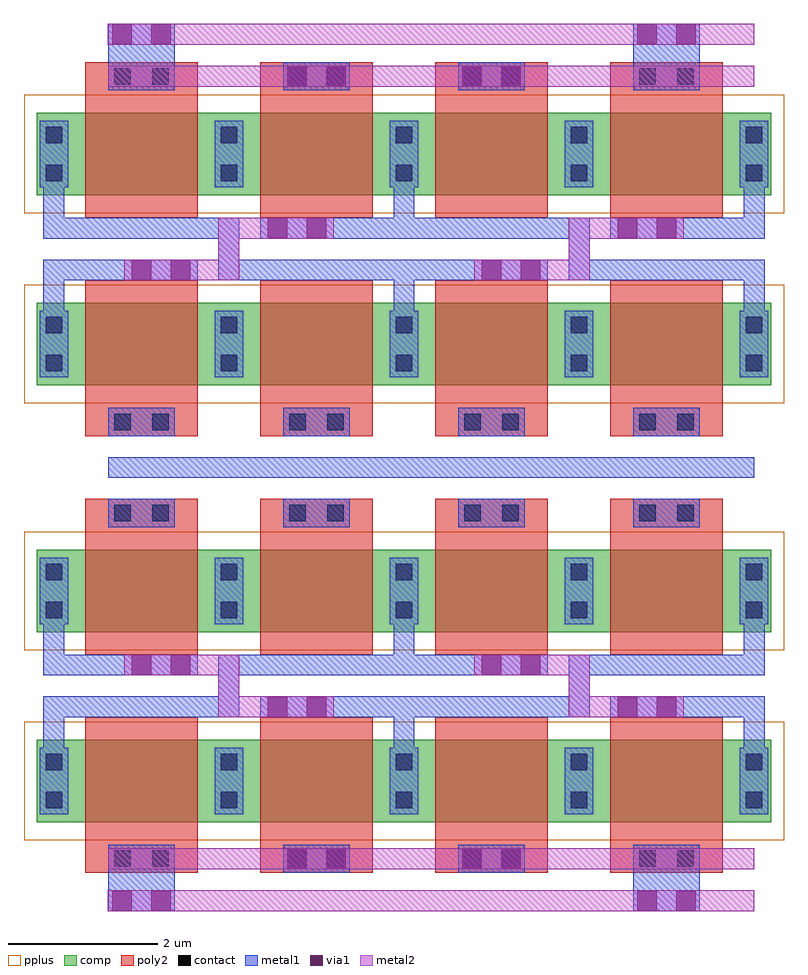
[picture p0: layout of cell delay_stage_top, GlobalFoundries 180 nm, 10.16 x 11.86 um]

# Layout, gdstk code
import gdstk
lib = gdstk.Library(unit=1e-6, precision=5e-09)
def R(c, l, rs):  # rectangles x0, y0, x1, y1
    for r in rs: c.add(gdstk.rectangle(r[:2], r[2:], *l))
comp = (22, 0)
poly2 = (30, 0)
pplus = (31, 0)
contact = (33, 0)
metal1 = (34, 0)
via1 = (35, 0)
metal2 = (36, 0)

delay_stage_pcell_1_1 = lib.new_cell('delay_stage_pcell_1$1')
R(delay_stage_pcell_1_1, comp, [(0.17,0.3,0.63,1.4), (0.63,0.3,2.51,1.4), (2.51,0.3,2.97,1.4)])
R(delay_stage_pcell_1_1, poly2, [(0.82,0,2.32,1.7)])
R(delay_stage_pcell_1_1, pplus, [(0,0.06,3.14,1.64)])
R(delay_stage_pcell_1_1, contact, [(0.29,0.485,0.51,0.705), (2.63,0.485,2.85,0.705), (0.29,0.995,0.51,1.215), (2.63,0.995,2.85,1.215)])
R(delay_stage_pcell_1_1, metal1, [(0.21,0.405,0.59,1.295), (2.55,0.405,2.93,1.295)])

delay_stage_pcell_4 = lib.new_cell('delay_stage_pcell_4')
delay_stage_pcell_4.add(gdstk.Reference(delay_stage_pcell_1_1, (0,0)))
delay_stage_pcell_4.add(gdstk.Reference(delay_stage_pcell_1_1, (2.34,0)))
delay_stage_pcell_4.add(gdstk.Reference(delay_stage_pcell_1_1, (4.68,0)))
delay_stage_pcell_4.add(gdstk.Reference(delay_stage_pcell_1_1, (7.02,0)))

delay_stage_top = lib.new_cell('delay_stage_top')
R(delay_stage_top, poly2, [(0.82,-6.91,2.32,-6.53), (0.82,-6.91,2.32,-6.53), (3.16,-6.91,4.66,-6.53), (3.16,-6.91,4.66,-6.53), (5.5,-6.91,7,-6.53), (5.5,-6.91,7,-6.53), (7.84,-6.91,9.34,-6.53), (7.84,-6.91,9.34,-6.53), (0.82,-2.29,2.32,-1.91), (0.82,-2.29,2.32,-1.91), (3.16,-2.29,4.66,-1.91), (3.16,-2.29,4.66,-1.91), (5.5,-2.29,7,-1.91), (5.5,-2.29,7,-1.91), (7.84,-2.29,9.34,-1.91), (7.84,-2.29,9.34,-1.91), (0.82,-1.07,2.32,-0.69), (0.82,-1.07,2.32,-0.69), (3.16,-1.07,4.66,-0.69), (3.16,-1.07,4.66,-0.69), (5.5,-1.07,7,-0.69), (5.5,-1.07,7,-0.69), (7.84,-1.07,9.34,-0.69), (7.84,-1.07,9.34,-0.69), (0.82,3.55,2.32,3.93), (0.82,3.55,2.32,3.93), (3.16,3.55,4.66,3.93), (3.16,3.55,4.66,3.93), (5.5,3.55,7,3.93), (5.5,3.55,7,3.93), (7.84,3.55,9.34,3.93), (7.84,3.55,9.34,3.93)])
R(delay_stage_top, contact, [(1.205,-6.83,1.425,-6.61), (1.205,-6.83,1.425,-6.61), (1.715,-6.83,1.935,-6.61), (1.715,-6.83,1.935,-6.61), (3.545,-6.83,3.765,-6.61), (3.545,-6.83,3.765,-6.61), (4.055,-6.83,4.275,-6.61), (4.055,-6.83,4.275,-6.61), (5.885,-6.83,6.105,-6.61), (5.885,-6.83,6.105,-6.61), (6.395,-6.83,6.615,-6.61), (6.395,-6.83,6.615,-6.61), (8.225,-6.83,8.445,-6.61), (8.225,-6.83,8.445,-6.61), (8.735,-6.83,8.955,-6.61), (8.735,-6.83,8.955,-6.61), (1.205,-2.21,1.425,-1.99), (1.205,-2.21,1.425,-1.99), (1.715,-2.21,1.935,-1.99), (1.715,-2.21,1.935,-1.99), (3.545,-2.21,3.765,-1.99), (3.545,-2.21,3.765,-1.99), (4.055,-2.21,4.275,-1.99), (4.055,-2.21,4.275,-1.99), (5.885,-2.21,6.105,-1.99), (5.885,-2.21,6.105,-1.99), (6.395,-2.21,6.615,-1.99), (6.395,-2.21,6.615,-1.99), (8.225,-2.21,8.445,-1.99), (8.225,-2.21,8.445,-1.99), (8.735,-2.21,8.955,-1.99), (8.735,-2.21,8.955,-1.99), (1.205,-0.99,1.425,-0.77), (1.205,-0.99,1.425,-0.77), (1.715,-0.99,1.935,-0.77), (1.715,-0.99,1.935,-0.77), (3.545,-0.99,3.765,-0.77), (3.545,-0.99,3.765,-0.77), (4.055,-0.99,4.275,-0.77), (4.055,-0.99,4.275,-0.77), (5.885,-0.99,6.105,-0.77), (5.885,-0.99,6.105,-0.77), (6.395,-0.99,6.615,-0.77), (6.395,-0.99,6.615,-0.77), (8.225,-0.99,8.445,-0.77), (8.225,-0.99,8.445,-0.77), (8.735,-0.99,8.955,-0.77), (8.735,-0.99,8.955,-0.77), (1.205,3.63,1.425,3.85), (1.205,3.63,1.425,3.85), (1.715,3.63,1.935,3.85), (1.715,3.63,1.935,3.85), (3.545,3.63,3.765,3.85), (3.545,3.63,3.765,3.85), (4.055,3.63,4.275,3.85), (4.055,3.63,4.275,3.85), (5.885,3.63,6.105,3.85), (5.885,3.63,6.105,3.85), (6.395,3.63,6.615,3.85), (6.395,3.63,6.615,3.85), (8.225,3.63,8.445,3.85), (8.225,3.63,8.445,3.85), (8.735,3.63,8.955,3.85), (8.735,3.63,8.955,3.85)])
R(delay_stage_top, metal1, [(1.125,-7.42,2.015,-6.53), (1.125,-7.42,2.015,-6.53), (8.145,-7.42,9.035,-6.53), (8.145,-7.42,9.035,-6.53), (3.465,-6.91,4.355,-6.53), (3.465,-6.91,4.355,-6.53), (5.805,-6.91,6.695,-6.53), (5.805,-6.91,6.695,-6.53), (1.125,-2.29,2.015,-1.91), (3.465,-2.29,4.355,-1.91), (3.465,-2.29,4.355,-1.91), (5.805,-2.29,6.695,-1.91), (5.805,-2.29,6.695,-1.91), (8.145,-2.29,9.035,-1.91), (8.145,-2.29,9.035,-1.91), (1.125,-1.07,2.015,-0.69), (1.125,-1.07,2.015,-0.69), (3.465,-1.07,4.355,-0.69), (3.465,-1.07,4.355,-0.69), (5.805,-1.07,6.695,-0.69), (5.805,-1.07,6.695,-0.69), (8.145,-1.07,9.035,-0.69), (8.145,-1.07,9.035,-0.69), (1.125,3.55,2.015,4.44), (1.125,3.55,2.015,4.44), (3.465,3.55,4.355,3.93), (3.465,3.55,4.355,3.93), (5.805,3.55,6.695,3.93), (5.805,3.55,6.695,3.93), (8.145,3.55,9.035,4.44), (8.145,3.55,9.035,4.44)])
R(delay_stage_top, via1, [(1.18,-7.41,1.44,-7.15), (1.18,-7.41,1.44,-7.15), (1.7,-7.41,1.96,-7.15), (1.7,-7.41,1.96,-7.15), (8.2,-7.41,8.46,-7.15), (8.2,-7.41,8.46,-7.15), (8.72,-7.41,8.98,-7.15), (8.72,-7.41,8.98,-7.15), (3.52,-6.85,3.78,-6.59), (3.52,-6.85,3.78,-6.59), (4.04,-6.85,4.3,-6.59), (4.04,-6.85,4.3,-6.59), (5.86,-6.85,6.12,-6.59), (5.86,-6.85,6.12,-6.59), (6.38,-6.85,6.64,-6.59), (6.38,-6.85,6.64,-6.59), (3.26,-4.82,3.52,-4.56), (3.26,-4.82,3.52,-4.56), (3.78,-4.82,4.04,-4.56), (3.78,-4.82,4.04,-4.56), (7.94,-4.82,8.2,-4.56), (7.94,-4.82,8.2,-4.56), (8.46,-4.82,8.72,-4.56), (8.46,-4.82,8.72,-4.56), (1.44,-4.26,1.7,-4), (1.44,-4.26,1.7,-4), (1.96,-4.26,2.22,-4), (1.96,-4.26,2.22,-4), (6.12,-4.26,6.38,-4), (6.12,-4.26,6.38,-4), (6.64,-4.26,6.9,-4), (6.64,-4.26,6.9,-4), (1.44,1.02,1.7,1.28), (1.44,1.02,1.7,1.28), (1.96,1.02,2.22,1.28), (1.96,1.02,2.22,1.28), (6.12,1.02,6.38,1.28), (6.12,1.02,6.38,1.28), (6.64,1.02,6.9,1.28), (6.64,1.02,6.9,1.28), (3.26,1.58,3.52,1.84), (3.26,1.58,3.52,1.84), (3.78,1.58,4.04,1.84), (3.78,1.58,4.04,1.84), (7.94,1.58,8.2,1.84), (7.94,1.58,8.2,1.84), (8.46,1.58,8.72,1.84), (8.46,1.58,8.72,1.84), (3.52,3.61,3.78,3.87), (3.52,3.61,3.78,3.87), (4.04,3.61,4.3,3.87), (4.04,3.61,4.3,3.87), (5.86,3.61,6.12,3.87), (5.86,3.61,6.12,3.87), (6.38,3.61,6.64,3.87), (6.38,3.61,6.64,3.87), (1.18,4.17,1.44,4.43), (1.18,4.17,1.44,4.43), (1.7,4.17,1.96,4.43), (1.7,4.17,1.96,4.43), (8.2,4.17,8.46,4.43), (8.2,4.17,8.46,4.43), (8.72,4.17,8.98,4.43), (8.72,4.17,8.98,4.43)])
delay_stage_top.add(gdstk.FlexPath([(0.4,-5.235),(0.4,-4.69),(1.34,-4.69)], 0.28, ends="flush", simple_path=True, layer=34, datatype=0))  # metal1
delay_stage_top.add(gdstk.FlexPath([(0.4,-5.235),(0.4,-4.69),(1.34,-4.69)], 0.28, ends="flush", simple_path=True, layer=34, datatype=0))  # metal1
delay_stage_top.add(gdstk.FlexPath([(5.08,-5.235),(5.08,-4.83)], 0.28, ends="flush", simple_path=True, layer=34, datatype=0))  # metal1
delay_stage_top.add(gdstk.FlexPath([(5.08,-5.235),(5.08,-4.83)], 0.28, ends="flush", simple_path=True, layer=34, datatype=0))  # metal1
delay_stage_top.add(gdstk.FlexPath([(9.76,-5.235),(9.76,-4.69),(8.82,-4.69)], 0.28, ends="flush", simple_path=True, layer=34, datatype=0))  # metal1
delay_stage_top.add(gdstk.FlexPath([(9.76,-5.235),(9.76,-4.69),(8.82,-4.69)], 0.28, ends="flush", simple_path=True, layer=34, datatype=0))  # metal1
delay_stage_top.add(gdstk.FlexPath([(1.34,-4.69),(2.74,-4.69),(2.74,-4.13),(4.14,-4.13)], 0.28, ends="flush", simple_path=True, layer=34, datatype=0))  # metal1
delay_stage_top.add(gdstk.FlexPath([(1.34,-4.69),(2.74,-4.69),(2.74,-4.13),(4.14,-4.13)], 0.28, ends="flush", simple_path=True, layer=34, datatype=0))  # metal1
delay_stage_top.add(gdstk.FlexPath([(3.16,-4.69),(4.14,-4.69)], 0.28, ends="flush", simple_path=True, layer=34, datatype=0))  # metal1
delay_stage_top.add(gdstk.FlexPath([(3.16,-4.69),(4.14,-4.69)], 0.28, ends="flush", simple_path=True, layer=34, datatype=0))  # metal1
delay_stage_top.add(gdstk.FlexPath([(6.02,-4.69),(4.14,-4.69)], 0.28, ends="flush", simple_path=True, layer=34, datatype=0))  # metal1
delay_stage_top.add(gdstk.FlexPath([(6.02,-4.69),(4.14,-4.69)], 0.28, ends="flush", simple_path=True, layer=34, datatype=0))  # metal1
delay_stage_top.add(gdstk.FlexPath([(6.02,-4.69),(7.42,-4.69),(7.42,-4.13),(8.82,-4.13)], 0.28, ends="flush", simple_path=True, layer=34, datatype=0))  # metal1
delay_stage_top.add(gdstk.FlexPath([(6.02,-4.69),(7.42,-4.69),(7.42,-4.13),(8.82,-4.13)], 0.28, ends="flush", simple_path=True, layer=34, datatype=0))  # metal1
delay_stage_top.add(gdstk.FlexPath([(7.84,-4.69),(8.82,-4.69)], 0.28, ends="flush", simple_path=True, layer=34, datatype=0))  # metal1
delay_stage_top.add(gdstk.FlexPath([(7.84,-4.69),(8.82,-4.69)], 0.28, ends="flush", simple_path=True, layer=34, datatype=0))  # metal1
delay_stage_top.add(gdstk.FlexPath([(1.34,-4.13),(2.32,-4.13)], 0.28, ends="flush", simple_path=True, layer=34, datatype=0))  # metal1
delay_stage_top.add(gdstk.FlexPath([(1.34,-4.13),(2.32,-4.13)], 0.28, ends="flush", simple_path=True, layer=34, datatype=0))  # metal1
delay_stage_top.add(gdstk.FlexPath([(6.02,-4.13),(4.14,-4.13)], 0.28, ends="flush", simple_path=True, layer=34, datatype=0))  # metal1
delay_stage_top.add(gdstk.FlexPath([(6.02,-4.13),(4.14,-4.13)], 0.28, ends="flush", simple_path=True, layer=34, datatype=0))  # metal1
delay_stage_top.add(gdstk.FlexPath([(6.02,-4.13),(7,-4.13)], 0.28, ends="flush", simple_path=True, layer=34, datatype=0))  # metal1
delay_stage_top.add(gdstk.FlexPath([(6.02,-4.13),(7,-4.13)], 0.28, ends="flush", simple_path=True, layer=34, datatype=0))  # metal1
delay_stage_top.add(gdstk.FlexPath([(8.82,-4.13),(9.76,-4.13),(9.76,-3.585)], 0.28, ends="flush", simple_path=True, layer=34, datatype=0))  # metal1
delay_stage_top.add(gdstk.FlexPath([(8.82,-4.13),(9.76,-4.13),(9.76,-3.585)], 0.28, ends="flush", simple_path=True, layer=34, datatype=0))  # metal1
delay_stage_top.add(gdstk.FlexPath([(0.4,-3.585),(0.4,-4.13),(1.34,-4.13)], 0.28, ends="flush", simple_path=True, layer=34, datatype=0))  # metal1
delay_stage_top.add(gdstk.FlexPath([(0.4,-3.585),(0.4,-4.13),(1.34,-4.13)], 0.28, ends="flush", simple_path=True, layer=34, datatype=0))  # metal1
delay_stage_top.add(gdstk.FlexPath([(5.08,-3.585),(5.08,-3.99)], 0.28, ends="flush", simple_path=True, layer=34, datatype=0))  # metal1
delay_stage_top.add(gdstk.FlexPath([(5.08,-3.585),(5.08,-3.99)], 0.28, ends="flush", simple_path=True, layer=34, datatype=0))  # metal1
delay_stage_top.add(gdstk.FlexPath([(1.125,-1.49),(9.76,-1.49)], 0.28, ends="flush", simple_path=True, layer=34, datatype=0))  # metal1
delay_stage_top.add(gdstk.FlexPath([(0.4,0.605),(0.4,1.15),(1.34,1.15)], 0.28, ends="flush", simple_path=True, layer=34, datatype=0))  # metal1
delay_stage_top.add(gdstk.FlexPath([(0.4,2.255),(0.4,1.71),(1.34,1.71)], 0.28, ends="flush", simple_path=True, layer=34, datatype=0))  # metal1
delay_stage_top.add(gdstk.FlexPath([(5.08,2.255),(5.08,1.85)], 0.28, ends="flush", simple_path=True, layer=34, datatype=0))  # metal1
delay_stage_top.add(gdstk.FlexPath([(5.08,0.605),(5.08,1.01)], 0.28, ends="flush", simple_path=True, layer=34, datatype=0))  # metal1
delay_stage_top.add(gdstk.FlexPath([(8.82,1.15),(9.76,1.15),(9.76,0.605)], 0.28, ends="flush", simple_path=True, layer=34, datatype=0))  # metal1
delay_stage_top.add(gdstk.FlexPath([(9.76,2.255),(9.76,1.71),(8.82,1.71)], 0.28, ends="flush", simple_path=True, layer=34, datatype=0))  # metal1
delay_stage_top.add(gdstk.FlexPath([(1.34,1.71),(2.74,1.71),(2.74,1.15),(4.14,1.15)], 0.28, ends="flush", simple_path=True, layer=34, datatype=0))  # metal1
delay_stage_top.add(gdstk.FlexPath([(6.02,1.71),(7.42,1.71),(7.42,1.15),(8.82,1.15)], 0.28, ends="flush", simple_path=True, layer=34, datatype=0))  # metal1
delay_stage_top.add(gdstk.FlexPath([(7.84,1.71),(8.82,1.71)], 0.28, ends="flush", simple_path=True, layer=34, datatype=0))  # metal1
delay_stage_top.add(gdstk.FlexPath([(6.02,1.15),(7,1.15)], 0.28, ends="flush", simple_path=True, layer=34, datatype=0))  # metal1
delay_stage_top.add(gdstk.FlexPath([(1.34,1.15),(2.32,1.15)], 0.28, ends="flush", simple_path=True, layer=34, datatype=0))  # metal1
delay_stage_top.add(gdstk.FlexPath([(3.16,1.71),(4.14,1.71)], 0.28, ends="flush", simple_path=True, layer=34, datatype=0))  # metal1
delay_stage_top.add(gdstk.FlexPath([(6.02,1.71),(4.14,1.71)], 0.28, ends="flush", simple_path=True, layer=34, datatype=0))  # metal1
delay_stage_top.add(gdstk.FlexPath([(6.02,1.15),(4.14,1.15)], 0.28, ends="flush", simple_path=True, layer=34, datatype=0))  # metal1
delay_stage_top.add(gdstk.FlexPath([(6.02,1.15),(4.14,1.15)], 0.28, ends="flush", simple_path=True, layer=34, datatype=0))  # metal1
delay_stage_top.add(gdstk.FlexPath([(6.02,1.71),(4.14,1.71)], 0.28, ends="flush", simple_path=True, layer=34, datatype=0))  # metal1
delay_stage_top.add(gdstk.FlexPath([(3.16,1.71),(4.14,1.71)], 0.28, ends="flush", simple_path=True, layer=34, datatype=0))  # metal1
delay_stage_top.add(gdstk.FlexPath([(1.34,1.15),(2.32,1.15)], 0.28, ends="flush", simple_path=True, layer=34, datatype=0))  # metal1
delay_stage_top.add(gdstk.FlexPath([(6.02,1.15),(7,1.15)], 0.28, ends="flush", simple_path=True, layer=34, datatype=0))  # metal1
delay_stage_top.add(gdstk.FlexPath([(7.84,1.71),(8.82,1.71)], 0.28, ends="flush", simple_path=True, layer=34, datatype=0))  # metal1
delay_stage_top.add(gdstk.FlexPath([(6.02,1.71),(7.42,1.71),(7.42,1.15),(8.82,1.15)], 0.28, ends="flush", simple_path=True, layer=34, datatype=0))  # metal1
delay_stage_top.add(gdstk.FlexPath([(1.34,1.71),(2.74,1.71),(2.74,1.15),(4.14,1.15)], 0.28, ends="flush", simple_path=True, layer=34, datatype=0))  # metal1
delay_stage_top.add(gdstk.FlexPath([(9.76,2.255),(9.76,1.71),(8.82,1.71)], 0.28, ends="flush", simple_path=True, layer=34, datatype=0))  # metal1
delay_stage_top.add(gdstk.FlexPath([(8.82,1.15),(9.76,1.15),(9.76,0.605)], 0.28, ends="flush", simple_path=True, layer=34, datatype=0))  # metal1
delay_stage_top.add(gdstk.FlexPath([(5.08,0.605),(5.08,1.01)], 0.28, ends="flush", simple_path=True, layer=34, datatype=0))  # metal1
delay_stage_top.add(gdstk.FlexPath([(5.08,2.255),(5.08,1.85)], 0.28, ends="flush", simple_path=True, layer=34, datatype=0))  # metal1
delay_stage_top.add(gdstk.FlexPath([(0.4,2.255),(0.4,1.71),(1.34,1.71)], 0.28, ends="flush", simple_path=True, layer=34, datatype=0))  # metal1
delay_stage_top.add(gdstk.FlexPath([(0.4,0.605),(0.4,1.15),(1.34,1.15)], 0.28, ends="flush", simple_path=True, layer=34, datatype=0))  # metal1
delay_stage_top.add(gdstk.FlexPath([(1.12,-7.28),(9.76,-7.28)], 0.28, ends="flush", simple_path=True, layer=36, datatype=0))  # metal2
delay_stage_top.add(gdstk.FlexPath([(1.12,-7.28),(9.76,-7.28)], 0.28, ends="flush", simple_path=True, layer=36, datatype=0))  # metal2
delay_stage_top.add(gdstk.FlexPath([(1.125,-6.72),(9.76,-6.72)], 0.28, ends="flush", simple_path=True, layer=36, datatype=0))  # metal2
delay_stage_top.add(gdstk.FlexPath([(1.125,-6.72),(9.76,-6.72)], 0.28, ends="flush", simple_path=True, layer=36, datatype=0))  # metal2
delay_stage_top.add(gdstk.FlexPath([(1.34,-4.13),(2.74,-4.13),(2.74,-4.69),(4.14,-4.69)], 0.28, ends="flush", simple_path=True, layer=36, datatype=0))  # metal2
delay_stage_top.add(gdstk.FlexPath([(1.34,-4.13),(2.74,-4.13),(2.74,-4.69),(4.14,-4.69)], 0.28, ends="flush", simple_path=True, layer=36, datatype=0))  # metal2
delay_stage_top.add(gdstk.FlexPath([(6.02,-4.13),(7.42,-4.13),(7.42,-4.69),(8.82,-4.69)], 0.28, ends="flush", simple_path=True, layer=36, datatype=0))  # metal2
delay_stage_top.add(gdstk.FlexPath([(6.02,-4.13),(7.42,-4.13),(7.42,-4.69),(8.82,-4.69)], 0.28, ends="flush", simple_path=True, layer=36, datatype=0))  # metal2
delay_stage_top.add(gdstk.FlexPath([(1.125,3.74),(9.76,3.74)], 0.28, ends="flush", simple_path=True, layer=36, datatype=0))  # metal2
delay_stage_top.add(gdstk.FlexPath([(6.02,1.15),(7.42,1.15),(7.42,1.71),(8.82,1.71)], 0.28, ends="flush", simple_path=True, layer=36, datatype=0))  # metal2
delay_stage_top.add(gdstk.FlexPath([(1.12,4.3),(9.76,4.3)], 0.28, ends="flush", simple_path=True, layer=36, datatype=0))  # metal2
delay_stage_top.add(gdstk.FlexPath([(1.34,1.15),(2.74,1.15),(2.74,1.71),(4.14,1.71)], 0.28, ends="flush", simple_path=True, layer=36, datatype=0))  # metal2
delay_stage_top.add(gdstk.FlexPath([(1.34,1.15),(2.74,1.15),(2.74,1.71),(4.14,1.71)], 0.28, ends="flush", simple_path=True, layer=36, datatype=0))  # metal2
delay_stage_top.add(gdstk.FlexPath([(6.02,1.15),(7.42,1.15),(7.42,1.71),(8.82,1.71)], 0.28, ends="flush", simple_path=True, layer=36, datatype=0))  # metal2
delay_stage_top.add(gdstk.FlexPath([(1.12,4.3),(9.76,4.3)], 0.28, ends="flush", simple_path=True, layer=36, datatype=0))  # metal2
delay_stage_top.add(gdstk.FlexPath([(1.125,3.74),(9.76,3.74)], 0.28, ends="flush", simple_path=True, layer=36, datatype=0))  # metal2
delay_stage_top.add(gdstk.Reference(delay_stage_pcell_4, (0,-3.99)))
delay_stage_top.add(gdstk.Reference(delay_stage_pcell_4, (0,-3.99)))
delay_stage_top.add(gdstk.Reference(delay_stage_pcell_4, (0,-4.83), x_reflection=True))
delay_stage_top.add(gdstk.Reference(delay_stage_pcell_4, (0,-4.83), x_reflection=True))
delay_stage_top.add(gdstk.Reference(delay_stage_pcell_4, (0,1.85)))
delay_stage_top.add(gdstk.Reference(delay_stage_pcell_4, (0,1.01), x_reflection=True))
delay_stage_top.add(gdstk.Reference(delay_stage_pcell_4, (0,1.01), x_reflection=True))
delay_stage_top.add(gdstk.Reference(delay_stage_pcell_4, (0,1.85)))

lib.write_gds('delay_stage_top.gds')
